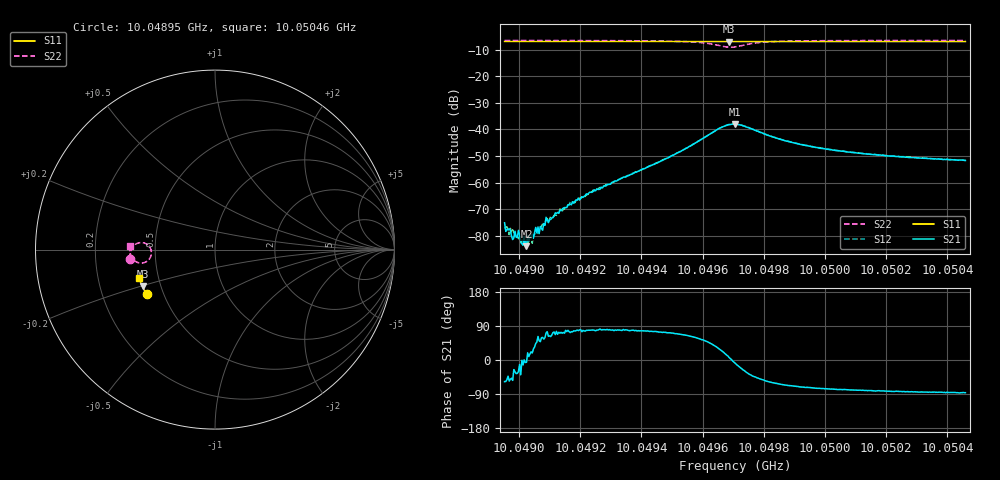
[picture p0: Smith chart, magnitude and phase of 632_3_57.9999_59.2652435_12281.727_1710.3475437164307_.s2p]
#  HZ  S  RI  R  50.00
! Rohde & Schwarz Vector Network Analyzer
! Rohde-Schwarz,ZNB20-2Port,1311601062101988,3.16
! Created: UTC 3/21/2024, 1:18:42 AM
! freq[Hz]  re:S11  im:S11  re:S21  im:S21  re:S12  im:S12  re:S22  im:S22
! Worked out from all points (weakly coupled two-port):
!   401 points, 10.04895 GHz to 10.05046 GHz, reference 50 ohm
!   highest |S21| = -37.94 dB at 10.04971 GHz (marker M1); lowest = -84.0 dB at 10.04902 GHz (marker M2)
!   lowest |S11| = -6.9 dB at 10.04969 GHz (marker M3), VSWR 2.65, Z = 19.8 - j10.2 ohm
!   |S11| at or under -10 dB: nowhere
!   |S22| runs from -9.0 to -6.4 dB; largest |S21 - S12| = 0.0011
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1.0048953e10  -0.3813 -0.2484  9.48e-05 -0.000146  9.03e-05 -0.000103  -0.4729 -0.0532
1.0048983e10  -0.3825 -0.2466  8.15e-05 -3.87e-05  8e-05 -7.98e-05  -0.4731 -0.0506
1.0048994e10  -0.3828 -0.2459  7.52e-05 -5.29e-05  8.24e-05 -5.5e-05  -0.4731 -0.0497
1.0049024e10  -0.3838 -0.2443  6.27e-05 -6.62e-06  7.63e-05 1.06e-05  -0.473 -0.0472
1.0049043e10  -0.3845 -0.2431  0.0001 3.36e-05  5.12e-05 5e-05  -0.4733 -0.0455
1.0049054e10  -0.3848 -0.2425  0.000104 9.78e-05  4.84e-05 9.2e-05  -0.4732 -0.0445
1.0049073e10  -0.3854 -0.2415  7.07e-05 0.000116  8.19e-05 0.000127  -0.4733 -0.0428
1.0049096e10  -0.3862 -0.2403  8.09e-05 0.000156  6.08e-05 0.000169  -0.4732 -0.041
1.0049103e10  -0.3866 -0.2398  9.51e-05 0.000177  7.55e-05 0.00022  -0.4732 -0.0403
1.0049141e10  -0.3878 -0.2376  0.000104 0.000298  7.1e-05 0.00028  -0.4734 -0.0367
1.0049205e10  -0.3897 -0.2338  0.000144 0.00052  0.000102 0.000511  -0.473 -0.0306
1.0049228e10  -0.3905 -0.2327  0.000125 0.000618  9.04e-05 0.000603  -0.473 -0.0283
1.0049457e10  -0.3975 -0.219  0.000693 0.00233  0.000532 0.00239  -0.4656 0.00291
1.0049544e10  -0.4001 -0.2139  0.0018 0.00396  0.00159 0.00406  -0.4523 0.0221
1.0049627e10  -0.4021 -0.2086  0.0061 0.00579  0.00568 0.00618  -0.4086 0.0393
1.0049687e10  -0.403 -0.2054  0.0123 0.00136  0.0121 0.00226  -0.355 -0.00769
1.0049706e10  -0.4035 -0.2048  0.0126 -0.00176  0.0126 -0.000835  -0.3575 -0.0367
1.00498e10  -0.4068 -0.1998  0.00504 -0.00663  0.00539 -0.00641  -0.4372 -0.069
1.0049872e10  -0.4089 -0.1954  0.00246 -0.00557  0.00281 -0.00546  -0.4596 -0.0501
1.0049958e10  -0.4117 -0.1902  0.00134 -0.00449  0.00166 -0.00449  -0.4689 -0.0326
1.0050211e10  -0.4178 -0.1749  0.000433 -0.00313  0.000609 -0.00313  -0.475 -0.00123
1.0050459e10  -0.4235 -0.1595  0.000172 -0.0026  0.000333 -0.00259  -0.4752 0.0205
